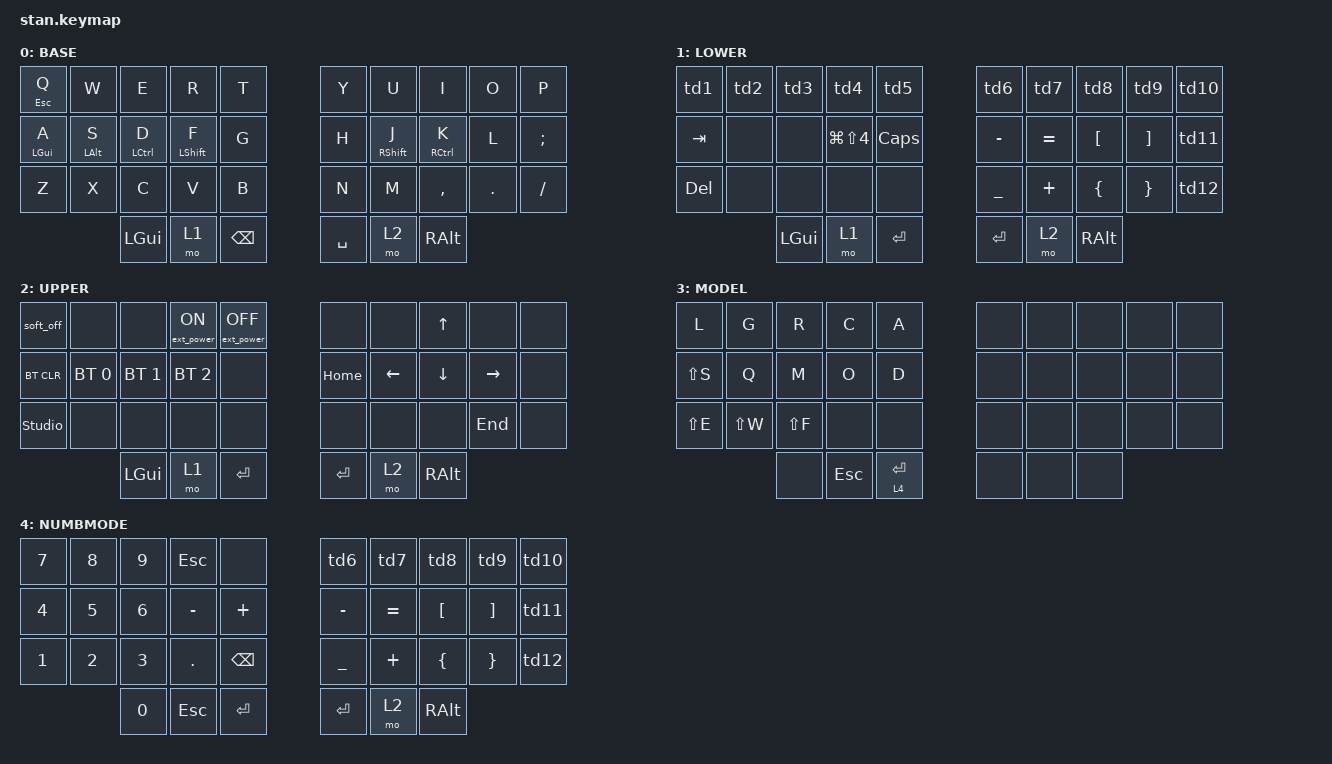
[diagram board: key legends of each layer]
#include <dt-bindings/zmk/keys.h>
#include <dt-bindings/zmk/bt.h>
#include <dt-bindings/zmk/ext_power.h>
#include <behaviors.dtsi>

#define BASE 0
#define LOWER 1
#define UPPER 2
#define MODEL 3
#define MODNUMB 4

/  {

behaviours {
    
    hm: homerow_mods {
            compatible = "zmk,behavior-hold-tap";
            #binding-cells = <2>;
            tapping-term-ms = <200>;
            quick-tap-ms = <0>;
            flavor = "tap-preferred";
            bindings = <&kp>, <&kp>;
        };

    td1: tap_dance_1 {
            compatible = "zmk,behavior-tap-dance";
            #binding-cells = <0>;
            tapping-term-ms = <200>;
            bindings = <&kp N1>, <&kp EXCL>;
        };

    td2: tap_dance_2 {
            compatible = "zmk,behavior-tap-dance";
            #binding-cells = <0>;
            tapping-term-ms = <200>;
            bindings = <&kp N2>, <&kp AT>;
        };

    td3: tap_dance_3 {
            compatible = "zmk,behavior-tap-dance";
            #binding-cells = <0>;
            tapping-term-ms = <200>;
            bindings = <&kp N3>, <&kp HASH>;
        };

    td4: tap_dance_4 {
            compatible = "zmk,behavior-tap-dance";
            #binding-cells = <0>;
            tapping-term-ms = <200>;
            bindings = <&kp N4>, <&kp DOLLAR>;
        };

    td5: tap_dance_5 {
            compatible = "zmk,behavior-tap-dance";
            #binding-cells = <0>;
            tapping-term-ms = <200>;
            bindings = <&kp N5>, <&kp PRCNT>;
        };

    td6: tap_dance_6 {
            compatible = "zmk,behavior-tap-dance";
            #binding-cells = <0>;
            tapping-term-ms = <200>;
            bindings = <&kp N6>, <&kp CARET>;
        };

    td7: tap_dance_7 {
            compatible = "zmk,behavior-tap-dance";
            #binding-cells = <0>;
            tapping-term-ms = <200>;
            bindings = <&kp N7>, <&kp AMPS>;
        };

    td8: tap_dance_8 {
            compatible = "zmk,behavior-tap-dance";
            #binding-cells = <0>;
            tapping-term-ms = <200>;
            bindings = <&kp N8>, <&kp STAR>;
        };

    td9: tap_dance_9 {
            compatible = "zmk,behavior-tap-dance";
            #binding-cells = <0>;
            tapping-term-ms = <200>;
            bindings = <&kp N9>, <&kp LPAR>;
        };

    td10: tap_dance_10 {
            compatible = "zmk,behavior-tap-dance";
            #binding-cells = <0>;
            tapping-term-ms = <200>;
            bindings = <&kp N0>, <&kp RPAR>;
        };

    td11: tap_dance_11 {
            compatible = "zmk,behavior-tap-dance";
            #binding-cells = <0>;
            tapping-term-ms = <200>;
            bindings = <&kp APOS>, <&kp DQT>;
        };

td12: tap_dance_12 {
            compatible = "zmk,behavior-tap-dance";
            #binding-cells = <0>;
            tapping-term-ms = <200>;
            bindings = <&kp PIPE>, <&kp BSLH>;
        };

    soft_off {
            hold-time-ms = <5000>; // Only turn off it the key is held for 5 seconds or longer.
        };

    combos {
        compatible = "zmk,combos";

        combo_toggle_layer {
            timeout-ms = <50>;
            key-positions = <0 9 33>;
            bindings = <&tog 3>;
        };

     
    };
        

    };

keymap {
    compatible = "zmk,keymap";

default_layer {
display-name = "BASE"; 
// ------------------------------------------------------         ---------------------------------------------
// |  ESC-Q   |    W     |     E     |     R      |  T  |         |  Y  |      U      |     I     |  O  |  P  |
// ------------------------------------------------------         ---------------------------------------------
// |  LGUI-A  |  LALT-S  |  LCTRL-D  |  LSHIFT-F  |  G  |         |  H  |  LSHIFT-J   |  LCTRL-K  |  L  |  ;  |
// ------------------------------------------------------          --------------------------------------------
// |     Z    |     X    |     C     |     V      |  B  |         |  N  |      M      |     ,     |  .  |  /  |
// ------------------------------------------------------         ---------------------------------------------
//                                    | GUI | LWR | SPC |         | ENT | RSE  | ALT |
//                                    -------------------         --------------------

    bindings = <

    &hm ESC Q   &kp W         &kp E          &kp R         &kp T                &kp Y      &kp U         &kp I          &kp O    &kp P    
    &hm LGUI A  &hm LALT S    &hm LCTRL D    &hm LSHIFT F  &kp G                &kp H      &hm RSHIFT J  &hm RCTRL K    &kp L    &kp SEMI  
    &kp Z       &kp X         &kp C          &kp V         &kp B                &kp N      &kp M         &kp COMMA      &kp DOT  &kp FSLH  
                              &kp LGUI      &mo 1         &kp BSPC             &kp SPACE  &mo 2         &kp RALT
    >;
};


lower_layer {
 display-name = "LOWER"; 
// ---------------------------------------   --------------------------------
// |  1 !  |    2 @    | 3 # | 4 $ | 5 % |   | 6 ^ |  7 & | 8 * | 9   |  0  |
// ---------------------------------------   --------------------------------
// |  TAB  |  LGUI(E)  |     | PRNT| CAP |   |  -  |  =   | lbkt| rbkt| ' " |
// ---------------------------------------   --------------------------------
// | delete|           |     | PST | CAD |   |  _  |  +   | lbrc| rbrc|  |  |
// ---------------------------------------   --------------------------------
//                     | GUI | LWR | SPC |   | ENT | RSE  | ALT |
//                     -------------------   --------------------

    bindings = <

    &td1             &td2        &td3      &td4          &td5                                  &td6             &td7              &td8             &td9            &td10   
    &kp TAB          &none       &none     &kp LG(LS(N4))     &kp CAPS                              &kp MINUS        &kp EQUAL         &kp LBKT         &kp RBKT        &td11  
    &kp DEL          &none       &none     &none         &none                                 &kp UNDER        &kp PLUS          &kp LBRC         &kp RBRC        &td12
                                 &kp LGUI  &mo 1         &kp RET                               &kp RET          &mo 2             &kp RALT
    >;
    };

raise_layer {
display-name = "UPPER"; 
// ---------------------------------   ----------------------------------------------
// | soft  |     |     | ext | ext |   |        |         |  UP    |         |delete|
// ---------------------------------   ----------------------------------------------
// |  CLR  | bt1 | bt2 | bt3 |     |   |  HOME  |  LEFT   |  DOWN  |  RIGHT  |      |
// ---------------------------------   ----------------------------------------------
// | stdulk|     |     |     |     |   |        |         |        |   END   |      |
// ---------------------------------   ----------------------------------------------
//               | GUI | LWR | SPC |   | ENT | RSE  | ALT | 
//               -------------------   --------------------

    bindings = <

    &soft_off       &none            &none            &ext_power EP_ON  &ext_power EP_OFF                &none      &none     &kp UP        &none        &none   
    &bt BT_CLR      &bt BT_SEL 0     &bt BT_SEL 1     &bt BT_SEL 2      &none                            &kp HOME   &kp LEFT  &kp DOWN      &kp RIGHT    &none   
    &studio_unlock  &none            &none            &none             &none                            &none      &none     &none         &kp END      &none   
                                     &kp LGUI         &mo 1             &kp RET                          &kp RET    &mo 2     &kp RALT
    >;
    };

model_toggle_layer {
display-name = "MODEL"; 
// ---------------------------------   ----------------------------------------------
// | L     |  G  |  R  | C  |   A |     |       |         |  UP    |         |delete|
// ---------------------------------   ----------------------------------------------
// |LS+S  | Q  | M | O    |    D   |    |  HOME  |  LEFT   |  DOWN  |  RIGHT  |      |
// ---------------------------------   ----------------------------------------------
// | LS+E|  LS+W   |LS+F  |     |     |   |        |         |        |   END   |      |
// ---------------------------------   ----------------------------------------------
//               |       | ESC| RET|   | ENT | RSE  | ALT | 
//               -------------------   --------------------

    bindings = <

    &kp L           &kp G           &kp R           &kp C         &kp A                   &none           &none           &none           &none           &none   
    &kp LS(S)       &kp Q           &kp M           &kp O         &kp D                   &none           &none           &none           &none           &none   
    &kp LS(E)       &kp LS(W)       &kp LS(F)       &none             &none                       &none           &none           &none           &none           &none   
                                    &none               &kp ESC             &lt 4 RET                     &none           &none           &none
    >;
    };


modnumb_layer {
 display-name = "NUMBMODE"; 
// ---------------------------------------   --------------------------------
// |  1 !  |    2 @    | 3 # | 4 $ | 5 % |   | 6 ^ |  7 & | 8 * | 9   |  0  |
// ---------------------------------------   --------------------------------
// |  TAB  |  LGUI(E)  |     | PRNT| CAP |   |  -  |  =   | lbkt| rbkt| ' " |
// ---------------------------------------   --------------------------------
// | delete|           |     | PST | CAD |   |  _  |  +   | lbrc| rbrc|  |  |
// ---------------------------------------   --------------------------------
//                     | GUI | LWR | SPC |   | ENT | RSE  | ALT |
//                     -------------------   --------------------  

    bindings = <

    &kp N7             &kp N8        &kp N9      &kp ESC          &none                                  &td6             &td7              &td8             &td9            &td10   
    &kp N4         &kp N5       &kp N6     &kp MINUS     &kp PLUS                              &kp MINUS        &kp EQUAL         &kp LBKT         &kp RBKT        &td11  
    &kp N1          &kp N2       &kp N3     &kp DOT         &kp BSPC                                 &kp UNDER        &kp PLUS          &kp LBRC         &kp RBRC        &td12
                                 &kp N0  &kp ESC         &kp RET                               &kp RET          &mo 2             &kp RALT
    >;
    };
};
};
